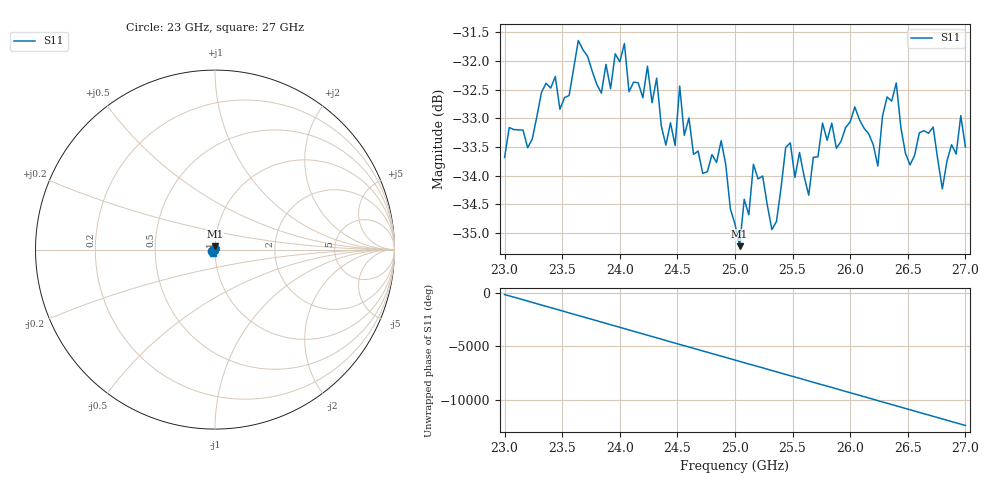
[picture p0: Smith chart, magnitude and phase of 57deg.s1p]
#  HZ  S  RI  R  50.00
! Rohde & Schwarz ZVA40 4Ports - Version 3.90 - 1145.1110k42 SN: 100403
! Date: 2023-09-26 10:53:50
! Measurement: S12
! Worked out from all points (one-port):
!   101 points, 23 GHz to 27 GHz, reference 50 ohm
!   lowest |S11| = -35.2 dB at 25.04 GHz (marker M1), VSWR 1.04, Z = 50 + j1.73 ohm
!   |S11| at or under -10 dB: start of sweep to end of sweep
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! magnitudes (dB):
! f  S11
! 23 GHz  -33.7
! 23.36 GHz  -32.4
! 23.52 GHz  -32.6
! 23.64 GHz  -31.6
! 23.84 GHz  -32.6
! 24 GHz  -32.0
! 24.32 GHz  -32.3
! 24.4 GHz  -33.5
! 24.48 GHz  -33.5
! 24.52 GHz  -32.4
! 24.56 GHz  -33.3
! 24.72 GHz  -34.0
! 24.88 GHz  -33.4
! 25 GHz  -34.8
! 25.04 GHz  -35.2
! 25.16 GHz  -33.8
! 25.32 GHz  -34.9
! 25.44 GHz  -33.5
! 25.52 GHz  -34.0
! 25.64 GHz  -34.3
! 26 GHz  -33.1
! 26.24 GHz  -33.8
! 26.4 GHz  -32.4
! 26.52 GHz  -33.8
! 26.72 GHz  -33.2
! 26.8 GHz  -34.2
! 26.96 GHz  -33.0
! 27 GHz  -33.5
